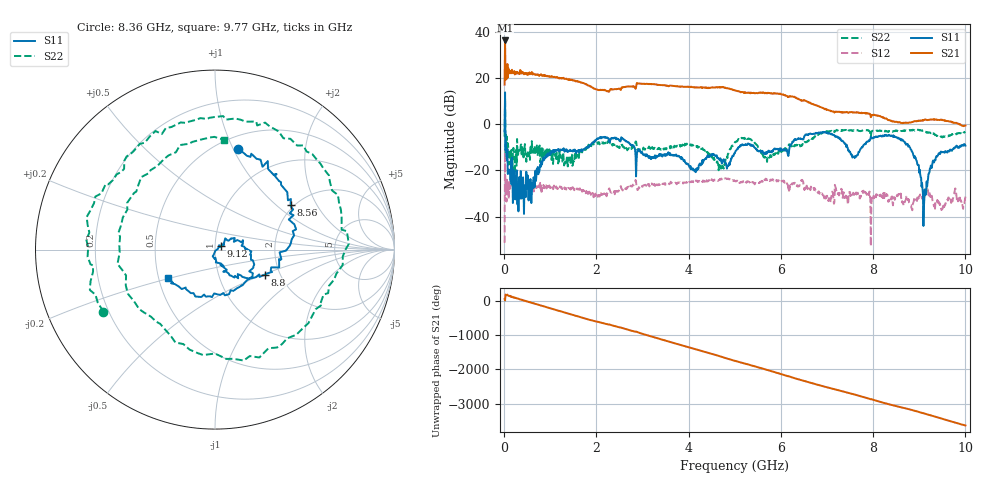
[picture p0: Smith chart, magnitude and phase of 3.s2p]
#  HZ  S  DB  R  50.00
! Rohde & Schwarz ZVA24 2Ports - Version 3.90 - 1145.1110k24 SN: 100222
! Date: 2019-05-10 15:16:30
! Measurements: S11 S21 S12 S22
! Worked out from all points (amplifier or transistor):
!   1000 points, 10 MHz to 10 GHz, reference 50 ohm
!   highest |S21| = 36.2 dB at 20 MHz (marker M1)
!   |S21| within 3 dB of that: 18.43 MHz to 21.76 MHz (3.333 MHz wide, 16.6 % of centre)
!   unconditionally stable (mu >= 1): 220 MHz to 277.9 MHz; 370.5 MHz to 598 MHz; 602.4 MHz to end of sweep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
!   at 1.67 GHz: K = 1.55, MAG = 18.9 dB, |S12| = -28.5 dB
!   at 5.01 GHz: K = 1.50, MAG = 15.4 dB, |S12| = -24.6 dB
!   at 10 GHz: K = 9.24, MAG = 2.6 dB, |S12| = -31.2 dB
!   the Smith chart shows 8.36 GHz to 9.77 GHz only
!   S11 on the Smith chart (normalised r, x): 8.36 GHz: 0.62, +1.04; 8.56 GHz: 1.92, +1.24; 8.8 GHz: 1.68, -0.52; 9.12 GHz: 1.07, +0.04; 9.77 GHz: 0.56, -0.19
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1e7  -3.05 16.0  17.09 45.3  -51.25 2.1  -5.34 -18.5
2e7  13.74 101.1  36.19 1.9  -10.01 -25.9  11.61 156.3
8e7  -21.55 -75.5  20.21 153.6  -25.95 -37.2  -8.28 112.4
4.2e8  -27.06 59.2  21.79 6.8  -26.21 -151.7  -14.34 67.3
6.4e8  -22.92 8.2  21.88 -77.0  -29.08 131.7  -11.52 -33.2
8.5e8  -14.44 -1.7  21.12 -162.9  -26.23 47.9  -11.74 -58.9
1.09e9  -11.25 -79.1  20.48 101.3  -27.66 -32.8  -13.60 -134.5
1.32e9  -11.20 -159.2  19.60 9.4  -27.93 -113.5  -16.97 137.3
1.68e9  -10.86 57.4  18.01 -132.5  -28.50 116.2  -11.25 -41.1
2.63e9  -7.10 31.6  16.17 -105.0  -27.77 165.1  -10.09 -44.8
3.05e9  -12.93 -126.6  17.36 90.6  -26.21 11.5  -11.00 140.5
3.34e9  -13.75 110.2  17.01 -24.0  -26.37 -97.4  -10.70 35.3
3.73e9  -13.11 -35.1  16.39 -174.9  -25.36 119.1  -9.76 -119.0
5.01e9  -11.92 101.1  14.54 43.8  -24.62 -4.8  -7.63 105.0
6.67e9  -4.26 -49.2  8.84 117.6  -27.26 92.9  -6.42 60.8
8.34e9  -4.97 81.6  1.79 -136.3  -32.70 -159.0  -3.16 -142.8
8.36e9  -4.78 77.4  1.75 -142.7  -31.93 -163.3  -2.95 -150.9
8.56e9  -6.24 30.4  0.86 150.0  -29.28 119.9  -3.25 145.9
8.8e9  -10.12 -26.5  0.66 69.4  -34.42 17.0  -2.77 85.2
9.12e9  -28.15 28.2  2.04 -49.5  -30.15 -66.0  -2.89 -6.8
9.77e9  -10.37 -149.1  0.58 52.3  -28.75 33.3  -4.24 85.4
1e10  -9.25 114.3  -0.57 -34.0  -31.15 -54.6  -3.32 27.3
